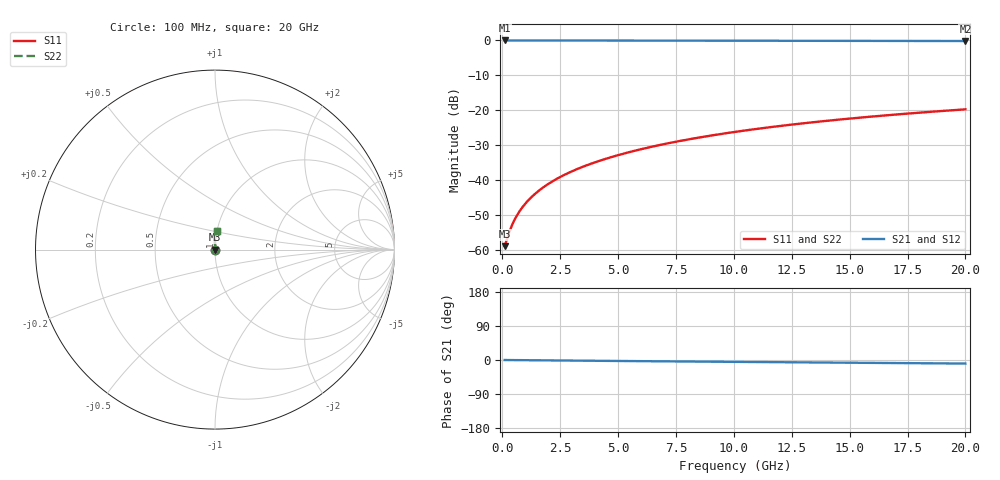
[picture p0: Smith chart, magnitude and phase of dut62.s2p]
! Touchstone file exported from HFSS 2024.1.0
!  File:  C:/UserFiles/LocalFiles/RDL_TSV_Batchsim/temp_RDL_bottom_62_1778693496.aedt
!  Generated:  01:34:18 AM May 14, 2026
!  Design:  RDL_bottom
!  Project:  temp_RDL_bottom_62_1778693496
!  Setup:  Setup1
!  Solution:  Sweep
! Variables:
!  dtsv = 10.80580581um
!  hbump = 3um
!  htsv = 70.85um
!  ldown = 108.1um
!  lrdl = 100um
!  p = 40
!  p1 = 44.25um
!  rhole = 1um
!  t = 450um
!  tdown = 2.43um
!  trdl = 3.915915916um
!  wdown = 24.09um
!  wrdl = 20um
# GHz S MA R 50.000000
! Terminal data exported
! Port[1] = RDL1_T1
! Port[2] = RDL1_T2
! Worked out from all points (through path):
!   200 points, 100 MHz to 20 GHz, reference 50 ohm
!   highest |S21| = -0.01 dB at 100 MHz (marker M1); lowest = -0.2 dB at 20 GHz (marker M2)
!   group delay of S21, straight-line fit = 1.29 ps
!   lowest |S11| = -58.9 dB at 100 MHz (marker M3), VSWR 1.00, Z = 50.1 + j0.0492 ohm
!   |S11| at or under -10 dB: start of sweep to end of sweep
!   |S22| runs from -58.9 to -19.7 dB; largest |S21 - S12| = 2.6e-15
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0.1  0.001139 25.6  0.999 -0.1  0.999 -0.1  0.001139 25.6
! Gamma 0 0 0 0
! Port Impedance 50 0 50 0
0.3  0.001803 53.0  0.9989 -0.2  0.9989 -0.2  0.001803 53.0
0.4  0.002198 59.4  0.9988 -0.2  0.9988 -0.2  0.002198 59.4
0.5  0.0026 63.8  0.9988 -0.3  0.9988 -0.3  0.0026 63.8
0.6  0.003005 67.1  0.9988 -0.3  0.9988 -0.3  0.003005 67.1
0.7  0.003412 69.7  0.9987 -0.4  0.9987 -0.4  0.003412 69.7
0.9  0.004232 73.6  0.9986 -0.5  0.9986 -0.5  0.004232 73.6
1.2  0.00548 77.5  0.9985 -0.6  0.9985 -0.6  0.00548 77.5
1.4  0.006325 79.4  0.9984 -0.7  0.9984 -0.7  0.006325 79.4
1.7  0.007608 81.6  0.9983 -0.9  0.9983 -0.9  0.007608 81.6
2.2  0.009787 84.1  0.998 -1.2  0.998 -1.2  0.009787 84.1
2.8  0.01246 86.1  0.9976 -1.5  0.9976 -1.5  0.01246 86.1
3.5  0.01567 87.8  0.997 -1.8  0.997 -1.8  0.01567 87.8
4.2  0.01896 88.9  0.9964 -2.2  0.9964 -2.2  0.01896 88.9
5  0.02283 89.7  0.9956 -2.6  0.9956 -2.6  0.02283 89.7
5.9  0.0273 90.3  0.9947 -3.0  0.9947 -3.0  0.0273 90.3
6.8  0.03189 90.6  0.9937 -3.5  0.9937 -3.5  0.03189 90.6
8.4  0.04028 90.6  0.9919 -4.2  0.9919 -4.2  0.04028 90.6
10.1  0.04941 90.2  0.9901 -5.0  0.9901 -5.0  0.0494 90.2
13.4  0.06741 88.7  0.9866 -6.5  0.9866 -6.5  0.06741 88.7
16.7  0.08545 86.9  0.9834 -7.9  0.9834 -7.9  0.08545 86.9
20  0.1033 85.0  0.9803 -9.4  0.9803 -9.4  0.1033 85.0
